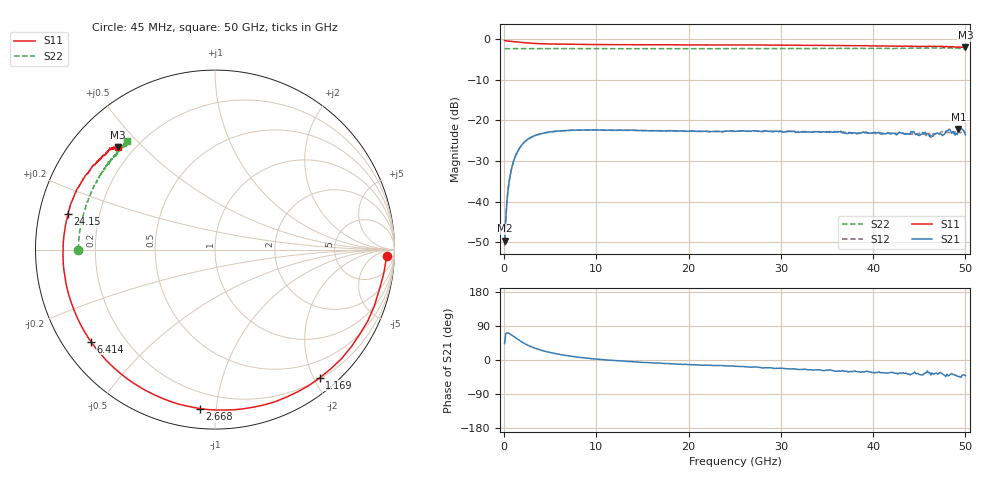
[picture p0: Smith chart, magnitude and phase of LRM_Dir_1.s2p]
!LRM Calibration
!DATE: 03-May-2007
!Vgs[V]=  1.552
!Vds[V]=  1.561
!Igs[mA]=  0.000
!Ids[mA]=  0.000
# GHZ S RI  R  50
!  Freq  Res11  Ims11  Res21  Ims21  Res12  Ims12  Res22  Ims22
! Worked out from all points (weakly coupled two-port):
!   401 points, 45 MHz to 50 GHz, reference 50 ohm
!   highest |S21| = -22.15 dB at 49.25 GHz (marker M1); lowest = -49.6 dB at 45 MHz (marker M2)
!   lowest |S11| = -2.1 dB at 50 GHz (marker M3), VSWR 8.36, Z = 7.07 + j21.1 ohm
!   |S11| at or under -10 dB: nowhere
!   |S22| runs from -2.4 to -2.2 dB; largest |S21 - S12| = 0.01
!   S11 on the Smith chart (normalised r, x): 45 MHz: 25, -23; 1.169 GHz: 0.22, -2.09; 2.668 GHz: 0.11, -0.90; 6.414 GHz: 0.08, -0.33; 24.15 GHz: 0.09, +0.12; 50 GHz: 0.14, +0.42
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0.045  0.9567 -0.0376  0.00241 0.00228  0.0019 0.00211  -0.7608 0.00038
0.54455  0.8517 -0.3967  0.00609 0.0168  0.00639 0.0166  -0.7597 0.0072
0.794325  0.7577 -0.5434  0.0102 0.0232  0.0105 0.023  -0.7598 0.0108
1.168988  0.5842 -0.7137  0.0178 0.0304  0.0179 0.03  -0.7599 0.0157
1.793425  0.2767 -0.8643  0.0313 0.0363  0.0313 0.036  -0.76 0.0246
2.667638  -0.0846 -0.8855  0.0471 0.0365  0.0471 0.0362  -0.7599 0.0372
3.416962  -0.3023 -0.8248  0.0565 0.0331  0.0563 0.0329  -0.7594 0.048
4.291175  -0.4753 -0.7295  0.0638 0.0281  0.0638 0.028  -0.7583 0.0608
6.414263  -0.6914 -0.5127  0.0727 0.0169  0.0726 0.0166  -0.7555 0.0909
8.412463  -0.7767 -0.3576  0.0754 0.00832  0.0752 0.00834  -0.7505 0.1193
12.0342  -0.8341 -0.163  0.0755 -0.00198  0.0751 -0.00212  -0.7401 0.1685
16.77992  -0.8459 0.00875  0.0735 -0.0103  0.0736 -0.0108  -0.722 0.2303
24.14829  -0.8196 0.1975  0.0712 -0.0201  0.0704 -0.0197  -0.6875 0.3248
25.0225  -0.8136 0.2187  0.0698 -0.0211  0.0704 -0.021  -0.6821 0.3363
33.38996  -0.7435 0.3773  0.064 -0.0318  0.0648 -0.031  -0.6264 0.434
41.75742  -0.6507 0.4937  0.058 -0.0378  0.056 -0.0389  -0.5619 0.5209
45.62894  -0.6039 0.5365  0.0588 -0.0403  0.0538 -0.0409  -0.5278 0.5596
46.37826  -0.5998 0.543  0.0527 -0.0358  0.053 -0.0376  -0.525 0.5743
48.12669  -0.5662 0.5628  0.0556 -0.0502  0.0558 -0.0449  -0.5019 0.5831
49.25068  -0.5568 0.5715  0.0562 -0.0542  0.0566 -0.0498  -0.4937 0.59
49.50045  -0.5467 0.5748  0.054 -0.0561  0.052 -0.0473  -0.4854 0.5978
50  -0.5408 0.5708  0.0498 -0.0436  0.0495 -0.0488  -0.4898 0.6077
